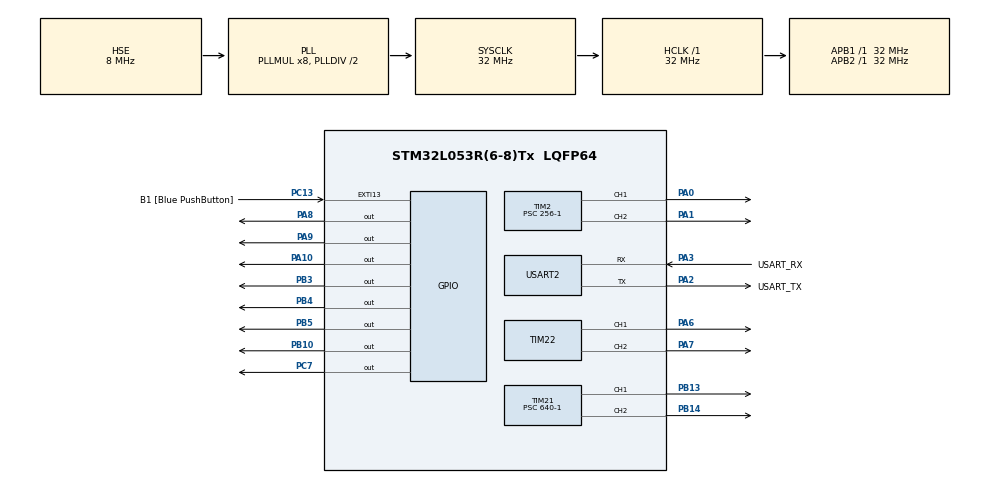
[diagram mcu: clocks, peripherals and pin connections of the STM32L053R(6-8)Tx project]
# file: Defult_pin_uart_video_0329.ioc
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Dma.Request0=USART2_RX
Dma.Request1=TIM2_CH2
Dma.TIM2_CH2.1.Direction=DMA_MEMORY_TO_PERIPH
Dma.TIM2_CH2.1.Instance=DMA1_Channel3
Dma.TIM2_CH2.1.MemDataAlignment=DMA_MDATAALIGN_HALFWORD
Dma.TIM2_CH2.1.MemInc=DMA_MINC_ENABLE
Dma.TIM2_CH2.1.Mode=DMA_NORMAL
Dma.TIM2_CH2.1.PeriphDataAlignment=DMA_PDATAALIGN_HALFWORD
Dma.TIM2_CH2.1.PeriphInc=DMA_PINC_DISABLE
Dma.TIM2_CH2.1.Priority=DMA_PRIORITY_LOW
Dma.USART2_RX.0.Direction=DMA_PERIPH_TO_MEMORY
Dma.USART2_RX.0.Instance=DMA1_Channel6
Dma.USART2_RX.0.MemDataAlignment=DMA_MDATAALIGN_BYTE
Dma.USART2_RX.0.MemInc=DMA_MINC_ENABLE
Dma.USART2_RX.0.Mode=DMA_NORMAL
Dma.USART2_RX.0.PeriphDataAlignment=DMA_PDATAALIGN_BYTE
Dma.USART2_RX.0.PeriphInc=DMA_PINC_DISABLE
Dma.USART2_RX.0.Priority=DMA_PRIORITY_LOW
Mcu.Family=STM32L0
Mcu.Name=STM32L053R(6-8)Tx
Mcu.Package=LQFP64
NVIC.DMA1_Channel2_3_IRQn=true\:0\:0\:false\:false\:true\:false\:true\:true
NVIC.DMA1_Channel4_5_6_7_IRQn=true\:0\:0\:false\:false\:true\:false\:true\:true
NVIC.TIM21_IRQn=true\:0\:0\:false\:false\:true\:true\:true\:true
NVIC.TIM2_IRQn=true\:0\:0\:false\:false\:true\:true\:true\:true
NVIC.TIM6_DAC_IRQn=true\:0\:0\:false\:false\:true\:true\:true\:true
NVIC.USART2_IRQn=true\:0\:0\:false\:false\:true\:true\:true\:true
PA0.Signal=S_TIM2_CH1
PA1.Signal=S_TIM2_CH2
PA10.GPIO_ModeDefaultOutputPP=GPIO_MODE_OUTPUT_OD
PA10.GPIO_PuPd=GPIO_NOPULL
PA10.Signal=GPIO_Output
PA13.GPIO_Label=TMS
PA13.Mode=Serial_Wire
PA13.Signal=SYS_SWDIO
PA14.GPIO_Label=TCK
PA14.Mode=Serial_Wire
PA14.Signal=SYS_SWCLK
PA2.GPIO_Label=USART_TX
PA2.Mode=Asynchronous
PA2.Signal=USART2_TX
PA3.GPIO_Label=USART_RX
PA3.Mode=Asynchronous
PA3.Signal=USART2_RX
PA6.Signal=S_TIM22_CH1
PA7.Signal=S_TIM22_CH2
PA8.GPIO_ModeDefaultOutputPP=GPIO_MODE_OUTPUT_OD
PA8.GPIO_PuPd=GPIO_NOPULL
PA8.Signal=GPIO_Output
PA9.GPIO_ModeDefaultOutputPP=GPIO_MODE_OUTPUT_OD
PA9.GPIO_PuPd=GPIO_NOPULL
PA9.Signal=GPIO_Output
PB10.GPIO_ModeDefaultOutputPP=GPIO_MODE_OUTPUT_OD
PB10.GPIO_PuPd=GPIO_NOPULL
PB10.Signal=GPIO_Output
PB13.Signal=S_TIM21_CH1
PB14.Signal=S_TIM21_CH2
PB3.GPIO_ModeDefaultOutputPP=GPIO_MODE_OUTPUT_OD
PB3.GPIO_PuPd=GPIO_NOPULL
PB3.Signal=GPIO_Output
PB4.GPIO_ModeDefaultOutputPP=GPIO_MODE_OUTPUT_OD
PB4.GPIO_PuPd=GPIO_NOPULL
PB4.Signal=GPIO_Output
PB5.GPIO_ModeDefaultOutputPP=GPIO_MODE_OUTPUT_OD
PB5.GPIO_PuPd=GPIO_NOPULL
PB5.Signal=GPIO_Output
PC13.GPIO_Label=B1 [Blue PushButton]
PC13.GPIO_ModeDefaultEXTI=GPIO_MODE_IT_FALLING
PC13.Signal=GPXTI13
PC14-OSC32_IN.Mode=LSE-External-Oscillator
PC14-OSC32_IN.Signal=RCC_OSC32_IN
PC15-OSC32_OUT.Mode=LSE-External-Oscillator
PC15-OSC32_OUT.Signal=RCC_OSC32_OUT
PC7.GPIO_ModeDefaultOutputPP=GPIO_MODE_OUTPUT_OD
PC7.GPIO_PuPd=GPIO_NOPULL
PC7.Signal=GPIO_Output
PH0-OSC_IN.Mode=HSE-External-Clock-Source
PH0-OSC_IN.Signal=RCC_OSC_IN
PH1-OSC_OUT.Signal=RCC_OSC_OUT
ProjectManager.HeapSize=0x200
ProjectManager.StackSize=0x400
ProjectManager.TargetToolchain=MDK-ARM V5.32
RCC.AHBFreq_Value=32000000
RCC.APB1Freq_Value=32000000
RCC.APB1TimFreq_Value=32000000
RCC.APB2Freq_Value=32000000
RCC.APB2TimFreq_Value=32000000
RCC.HCLKFreq_Value=32000000
RCC.HSE_VALUE=8000000
RCC.HSI16_VALUE=16000000
RCC.HSI48_VALUE=48000000
RCC.HSI_VALUE=16000000
RCC.MSI_VALUE=2097000
RCC.PLLMUL=RCC_PLLMUL_8
RCC.PLLSourceVirtual=RCC_PLLSOURCE_HSE
RCC.SYSCLKFreq_VALUE=32000000
RCC.SYSCLKSource=RCC_SYSCLKSOURCE_PLLCLK
RCC.VCOOutputFreq_Value=64000000
SH.S_TIM21_CH1.0=TIM21_CH1,PWM Generation1 CH1
SH.S_TIM21_CH2.0=TIM21_CH2,PWM Generation2 CH2
SH.S_TIM22_CH1.0=TIM22_CH1,PWM Generation1 CH1
SH.S_TIM22_CH2.0=TIM22_CH2,PWM Generation2 CH2
SH.S_TIM2_CH1.0=TIM2_CH1,PWM Generation1 CH1
SH.S_TIM2_CH2.0=TIM2_CH2,PWM Generation2 CH2
TIM2.Channel-PWM\ Generation1\ CH1=TIM_CHANNEL_1
TIM2.Channel-PWM\ Generation2\ CH2=TIM_CHANNEL_2
TIM2.Period=255-1
TIM2.Prescaler=256-1
TIM21.Channel-PWM\ Generation1\ CH1=TIM_CHANNEL_1
TIM21.Channel-PWM\ Generation2\ CH2=TIM_CHANNEL_2
TIM21.Period=1000-1
TIM21.Prescaler=640-1
TIM22.Channel-PWM\ Generation1\ CH1=TIM_CHANNEL_1
TIM22.Channel-PWM\ Generation2\ CH2=TIM_CHANNEL_2
TIM6.Period=1000-1
TIM6.Prescaler=640
USART2.VirtualMode-Asynchronous=VM_ASYNC
VP_TIM6_VS_ClockSourceINT.Mode=Enable_Timer
board=NUCLEO-L053R8

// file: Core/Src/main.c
/* USER CODE BEGIN Header */
/**
  ******************************************************************************
  * @file           : main.c
  * @brief          : Main program body
  ******************************************************************************
  * @attention
  *
  * Copyright (c) 2023 STMicroelectronics.
  * All rights reserved.
  *
  * This software is licensed under terms that can be found in the LICENSE file
  * in the root directory of this software component.
  * If no LICENSE file comes with this software, it is provided AS-IS.
  *
  ******************************************************************************
  */
/* USER CODE END Header */
#include "main.h"
#include "dma.h"
#include "tim.h"
#include "usart.h"
#include "gpio.h"

void SystemClock_Config(void);

int main(void)
{

  /* MCU Configuration--------------------------------------------------------*/

  /* Reset of all peripherals, Initializes the Flash interface and the Systick. */
  HAL_Init();

  /* Configure the system clock */
  SystemClock_Config();

  /* Initialize all configured peripherals */
  MX_GPIO_Init();
  MX_DMA_Init();
  MX_USART2_UART_Init();
  MX_TIM2_Init();
  MX_TIM6_Init();
  MX_TIM21_Init();
  MX_TIM22_Init();
  /* USER CODE BEGIN 2 */

	// UART2 part //
	HAL_UARTEx_ReceiveToIdle_DMA(&huart2, RxBuf, RxBuf_SIZE);
	__HAL_DMA_DISABLE_IT(&hdma_usart2_rx, DMA_IT_HT);
	// PWM part (start)//
	HAL_TIM_PWM_Start(&htim2, TIM_CHANNEL_1);
	HAL_TIM_PWM_Start(&htim2, TIM_CHANNEL_2);

	//M1
	HAL_GPIO_WritePin(GPIOA, GPIO_PIN_10, GPIO_PIN_SET);
	HAL_GPIO_WritePin(GPIOB, GPIO_PIN_3, GPIO_PIN_SET);
	//M2
	HAL_GPIO_WritePin(GPIOB, GPIO_PIN_5, GPIO_PIN_SET);
	HAL_GPIO_WritePin(GPIOB, GPIO_PIN_4, GPIO_PIN_SET);
	//M3
	HAL_GPIO_WritePin(GPIOB, GPIO_PIN_10, GPIO_PIN_SET);
	HAL_GPIO_WritePin(GPIOA, GPIO_PIN_8, GPIO_PIN_SET);
	//M4
	HAL_GPIO_WritePin(GPIOA, GPIO_PIN_9, GPIO_PIN_SET);
	HAL_GPIO_WritePin(GPIOC, GPIO_PIN_7, GPIO_PIN_SET);

	//initial PWM test value set
	TIM2->CCR1 = 255;
	TIM2->CCR2 = 255;

  /* USER CODE END 2 */

  /* Infinite loop */
  /* USER CODE BEGIN WHILE */

	printf("hello world\n");

  while (1)
  {
    /* USER CODE END WHILE */

    /* USER CODE BEGIN 3 */
//		HAL_GPIO_WritePin(GPIOC, GPIO_PIN_7, GPIO_PIN_SET);
//		HAL_GPIO_WritePin(GPIOB, GPIO_PIN_6, GPIO_PIN_RESET);
//		HAL_Delay(1000);
//		HAL_GPIO_WritePin(GPIOC, GPIO_PIN_7, GPIO_PIN_RESET);
//		HAL_GPIO_WritePin(GPIOB, GPIO_PIN_6, GPIO_PIN_SET);
//		HAL_Delay(1000);
		/**
		@testingPWM : change LD2 Lightness bright to dark.
		*/
//		TIM2->CCR1 = 30;
//		HAL_Delay(500);
//		TIM2->CCR1 = 50;
//		HAL_Delay(500);
//		TIM2->CCR1 = 255;
//		HAL_Delay(500);
  }
  /* USER CODE END 3 */
}

void SystemClock_Config(void)
{
  RCC_OscInitTypeDef RCC_OscInitStruct = {0};
  RCC_ClkInitTypeDef RCC_ClkInitStruct = {0};
  RCC_PeriphCLKInitTypeDef PeriphClkInit = {0};

  /** Configure the main internal regulator output voltage
  */
  __HAL_PWR_VOLTAGESCALING_CONFIG(PWR_REGULATOR_VOLTAGE_SCALE1);

  /** Initializes the RCC Oscillators according to the specified parameters
  * in the RCC_OscInitTypeDef structure.
  */
  RCC_OscInitStruct.OscillatorType = RCC_OSCILLATORTYPE_HSE;
  RCC_OscInitStruct.HSEState = RCC_HSE_BYPASS;
  RCC_OscInitStruct.PLL.PLLState = RCC_PLL_ON;
  RCC_OscInitStruct.PLL.PLLSource = RCC_PLLSOURCE_HSE;
  RCC_OscInitStruct.PLL.PLLMUL = RCC_PLLMUL_8;
  RCC_OscInitStruct.PLL.PLLDIV = RCC_PLLDIV_2;
  if (HAL_RCC_OscConfig(&RCC_OscInitStruct) != HAL_OK)
  {
    Error_Handler();
  }

  /** Initializes the CPU, AHB and APB buses clocks
  */
  RCC_ClkInitStruct.ClockType = RCC_CLOCKTYPE_HCLK|RCC_CLOCKTYPE_SYSCLK
                              |RCC_CLOCKTYPE_PCLK1|RCC_CLOCKTYPE_PCLK2;
  RCC_ClkInitStruct.SYSCLKSource = RCC_SYSCLKSOURCE_PLLCLK;
  RCC_ClkInitStruct.AHBCLKDivider = RCC_SYSCLK_DIV1;
  RCC_ClkInitStruct.APB1CLKDivider = RCC_HCLK_DIV1;
  RCC_ClkInitStruct.APB2CLKDivider = RCC_HCLK_DIV1;

  if (HAL_RCC_ClockConfig(&RCC_ClkInitStruct, FLASH_LATENCY_1) != HAL_OK)
  {
    Error_Handler();
  }
  PeriphClkInit.PeriphClockSelection = RCC_PERIPHCLK_USART2;
  PeriphClkInit.Usart2ClockSelection = RCC_USART2CLKSOURCE_PCLK1;
  if (HAL_RCCEx_PeriphCLKConfig(&PeriphClkInit) != HAL_OK)
  {
    Error_Handler();
  }
}

void Error_Handler(void)
{
  __disable_irq();
  while (1)
  {
  }
}
